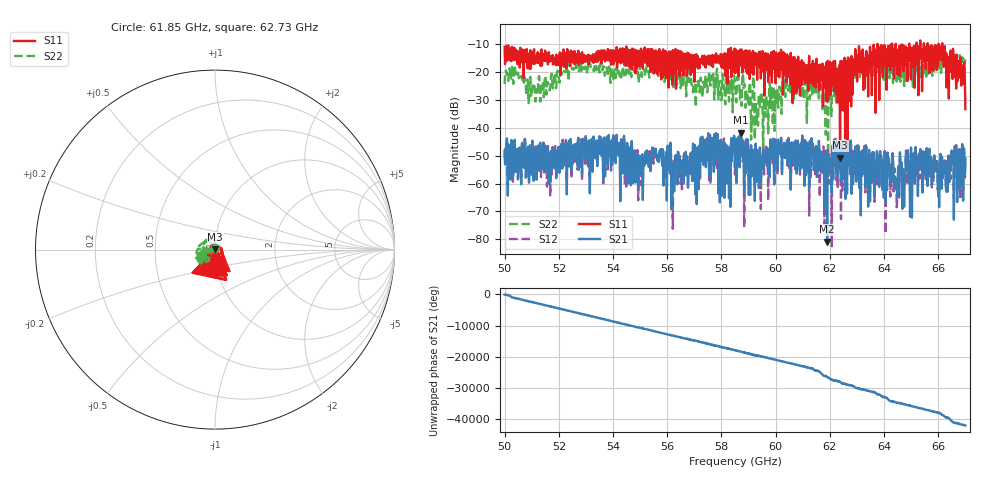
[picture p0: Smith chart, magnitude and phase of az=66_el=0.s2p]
!Created with skrf (http://scikit-rf.org).
# GHz S RI R 50.0
!freq ReS11 ImS11 ReS21 ImS21 ReS12 ImS12 ReS22 ImS22
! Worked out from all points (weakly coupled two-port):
!   1001 points, 50 GHz to 67 GHz, reference 50 ohm
!   highest |S21| = -41.79 dB at 58.7 GHz (marker M1); lowest = -80.8 dB at 61.9 GHz (marker M2)
!   lowest |S11| = -50.7 dB at 62.38 GHz (marker M3), VSWR 1.01, Z = 50.1 + j0.261 ohm
!   |S11| at or under -10 dB: start of sweep to 63.75 GHz; 63.75 GHz to 64.3 GHz (543.6 MHz wide, 0.849 % of centre); 66.15 GHz to end of sweep (the widest 3 of 11)
!   |S22| runs from -49.7 to -14.0 dB; largest |S21 - S12| = 0.0022
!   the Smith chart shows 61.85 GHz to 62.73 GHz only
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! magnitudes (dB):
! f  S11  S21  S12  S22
! 50 GHz  -11.2  -48.2  -48.5  -24.4
! 51.14 GHz  -14.3  -46.9  -46.8  -30.7
! 52.84 GHz  -14.8  -45.9  -46.7  -19.7
! 55.02 GHz  -15.0  -51.5  -50.7  -17.4
! 55.68 GHz  -14.5  -52.3  -52.2  -22.4
! 56.24 GHz  -20.7  -53.7  -51.8  -23.4
! 57.77 GHz  -16.6  -51.3  -53.2  -22.1
! 58.25 GHz  -13.2  -47.0  -46.4  -21.5
! 58.5 GHz  -20.5  -54.5  -56.8  -24.1
! 58.7 GHz  -12.0  -41.8  -42.7  -26.0
! 59.32 GHz  -22.9  -47.9  -48.3  -33.5
! 60.64 GHz  -14.9  -46.9  -45.9  -21.9
! 61.34 GHz  -24.1  -50.3  -50.9  -25.5
! 61.9 GHz  -17.3  -80.8  -59.3  -22.7
! 62.38 GHz  -50.7  -45.6  -47.2  -18.6
! 63.02 GHz  -15.5  -56.1  -58.3  -20.4
! 64.18 GHz  -17.9  -51.0  -52.5  -18.6
! 64.43 GHz  -10.0  -62.0  -61.9  -16.1
! 65.13 GHz  -25.8  -59.2  -60.0  -17.9
! 66.08 GHz  -15.7  -49.6  -49.3  -15.7
! 66.9 GHz  -17.8  -46.5  -48.1  -15.1
! 67 GHz  -33.3  -51.0  -51.6  -15.6
